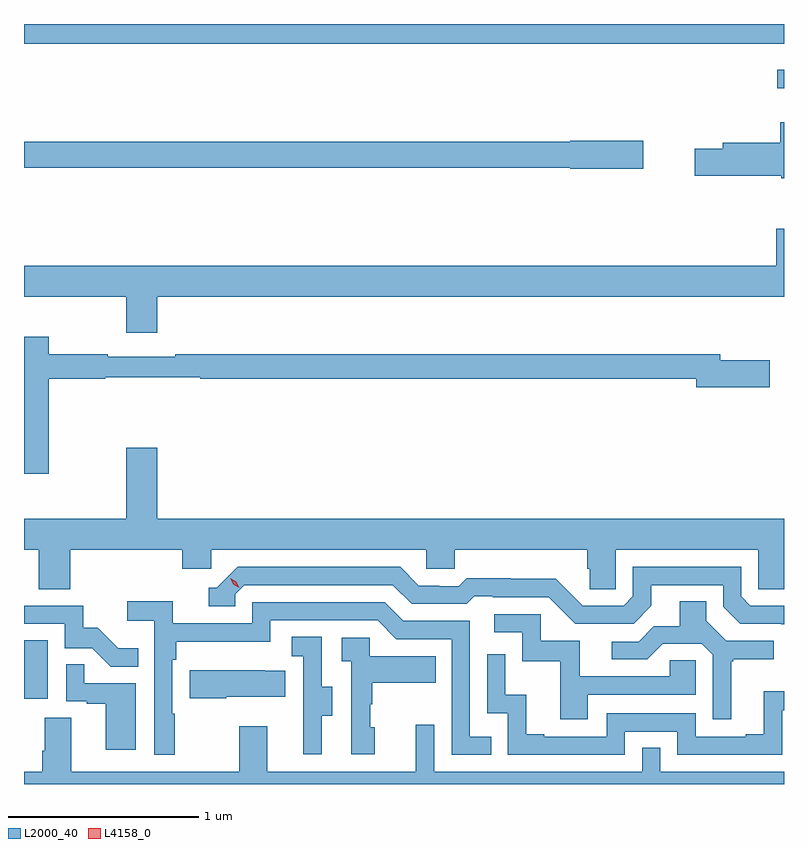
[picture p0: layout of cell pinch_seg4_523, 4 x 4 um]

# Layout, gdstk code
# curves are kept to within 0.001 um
import gdstk
lib = gdstk.Library(unit=1e-6, precision=1e-09)
def R(c, l, rs):  # rectangles x0, y0, x1, y1
    for r in rs: c.add(gdstk.rectangle(r[:2], r[2:], *l))
def P(c, l, *ps):  # polygons
    for p in ps: c.add(gdstk.Polygon(p, *l))
L2000_40 = (2000, 40)
L4158_0 = (4158, 0)

pinch_seg4_523 = lib.new_cell('pinch_seg4_523')
R(pinch_seg4_523, L2000_40, [(1027.607,769.398,1027.732,769.705), (1031.571,772.611,1031.607,772.708), (1027.607,772.844,1031.607,772.948)])
P(pinch_seg4_523, L2000_40, [(1031.607,772.432),(1031.588,772.432),(1031.588,772.322),(1031.285,772.322),(1031.285,772.292),(1031.136,772.292),(1031.136,772.15),(1031.592,772.15),(1031.592,772.136),(1031.607,772.136)],
  [(1030.867,772.334),(1030.482,772.334),(1030.482,772.328),(1027.607,772.328),(1027.607,772.192),(1030.482,772.192),(1030.482,772.187),(1030.867,772.187)],
  [(1028.308,771.512),(1031.607,771.512),(1031.607,771.871),(1031.567,771.871),(1031.567,771.676),(1027.607,771.676),(1027.607,771.512),(1028.144,771.512),(1028.144,771.324),(1028.308,771.324)],
  [(1027.738,771.082),(1028.034,771.082),(1028.034,771.09),(1028.534,771.09),(1028.534,771.082),(1031.144,771.082),(1031.144,771.035),(1031.533,771.035),(1031.533,771.177),(1031.272,771.177),(1031.272,771.211),(1028.404,771.211),(1028.404,771.198),(1028.048,771.198),(1028.048,771.211),(1027.738,771.211),(1027.738,771.301),(1027.607,771.301),(1027.607,770.58),(1027.738,770.58)],
  [(1028.308,770.719),(1028.144,770.719),(1028.144,770.344),(1027.607,770.344),(1027.607,770.18),(1027.685,770.18),(1027.685,769.972),(1027.85,769.972),(1027.85,770.18),(1028.441,770.18),(1028.441,770.082),(1028.592,770.082),(1028.592,770.18),(1029.723,770.18),(1029.723,770.082),(1029.873,770.082),(1029.873,770.18),(1030.571,770.18),(1030.571,770.082),(1030.585,770.082),(1030.585,769.972),(1030.722,769.972),(1030.722,770.18),(1031.472,770.18),(1031.472,769.972),(1031.607,769.972),(1031.607,770.344),(1028.308,770.344)],
  [(1031.607,769.887),(1031.43,769.887),(1031.382,769.935),(1031.382,770.091),(1030.812,770.091),(1030.812,769.935),(1030.764,769.887),(1030.548,769.887),(1030.406,770.029),(1030.17,770.029),(1030.17,770.032),(1029.937,770.032),(1029.895,769.989),(1029.792,769.989),(1029.792,769.992),(1029.685,769.992),(1029.586,770.091),(1028.733,770.091),(1028.622,769.98),(1028.579,769.98),(1028.579,769.884),(1028.718,769.884),(1028.718,769.947),(1028.766,769.995),(1029.549,769.995),(1029.648,769.896),(1029.937,769.896),(1029.976,769.935),(1030.075,769.935),(1030.075,769.932),(1030.368,769.932),(1030.509,769.791),(1030.815,769.791),(1030.909,769.885),(1030.909,769.995),(1031.286,769.995),(1031.286,769.881),(1031.376,769.791),(1031.607,769.79)],
  [(1028.401,769.319),(1028.388,769.319),(1028.388,769.601),(1028.408,769.601),(1028.408,769.697),(1028.904,769.697),(1028.904,769.809),(1029.468,769.809),(1029.567,769.71),(1029.858,769.71),(1029.858,769.101),(1030.067,769.101),(1030.067,769.197),(1029.954,769.197),(1029.954,769.806),(1029.604,769.806),(1029.505,769.905),(1028.808,769.905),(1028.808,769.794),(1028.39,769.794),(1028.39,769.91),(1028.151,769.91),(1028.151,769.808),(1028.292,769.808),(1028.292,769.101),(1028.401,769.101)],
  [(1031.329,769.593),(1031.341,769.593),(1031.341,769.604),(1031.554,769.604),(1031.554,769.701),(1031.304,769.701),(1031.197,769.808),(1031.197,769.91),(1031.057,769.91),(1031.057,769.778),(1030.922,769.778),(1030.842,769.698),(1030.701,769.698),(1030.701,769.605),(1030.888,769.605),(1030.969,769.686),(1031.175,769.686),(1031.232,769.629),(1031.232,769.29),(1031.329,769.29)],
  [(1028.207,769.663),(1028.103,769.663),(1027.996,769.77),(1027.92,769.77),(1027.92,769.887),(1027.607,769.887),(1027.607,769.791),(1027.821,769.791),(1027.821,769.662),(1027.965,769.662),(1028.063,769.564),(1028.207,769.564)],
  [(1030.573,769.419),(1031.142,769.419),(1031.142,769.599),(1031.005,769.599),(1031.005,769.515),(1030.531,769.515),(1030.531,769.701),(1030.326,769.701),(1030.326,769.842),(1030.083,769.842),(1030.083,769.746),(1030.23,769.746),(1030.23,769.593),(1030.429,769.593),(1030.429,769.29),(1030.573,769.29)],
  [(1029.175,769.306),(1029.229,769.306),(1029.229,769.461),(1029.174,769.461),(1029.174,769.724),(1029.015,769.724),(1029.015,769.621),(1029.078,769.621),(1029.078,769.317),(1029.077,769.317),(1029.077,769.104),(1029.175,769.104)],
  [(1029.454,769.248),(1029.429,769.248),(1029.429,769.367),(1029.439,769.367),(1029.439,769.481),(1029.773,769.481),(1029.773,769.621),(1029.426,769.621),(1029.426,769.719),(1029.279,769.719),(1029.279,769.595),(1029.33,769.595),(1029.33,769.104),(1029.454,769.104)],
  [(1030.77,769.224),(1031.046,769.224),(1031.046,769.101),(1031.598,769.101),(1031.598,769.337),(1031.607,769.337),(1031.607,769.435),(1031.501,769.435),(1031.501,769.21),(1031.405,769.21),(1031.405,769.197),(1031.142,769.197),(1031.142,769.32),(1030.674,769.32),(1030.674,769.197),(1030.345,769.197),(1030.345,769.21),(1030.25,769.21),(1030.25,769.418),(1030.14,769.418),(1030.14,769.63),(1030.044,769.63),(1030.044,769.32),(1030.152,769.32),(1030.152,769.101),(1030.77,769.101)],
  [(1028.194,769.479),(1027.925,769.479),(1027.925,769.577),(1027.83,769.577),(1027.83,769.383),(1027.937,769.383),(1027.937,769.371),(1028.036,769.371),(1028.036,769.128),(1028.194,769.128)],
  [(1028.671,769.406),(1028.981,769.406),(1028.981,769.543),(1028.873,769.543),(1028.873,769.546),(1028.48,769.546),(1028.48,769.399),(1028.671,769.399)],
  [(1031.607,769.012),(1030.956,769.012),(1030.956,769.139),(1030.86,769.139),(1030.86,769.012),(1029.765,769.012),(1029.765,769.261),(1029.668,769.261),(1029.668,769.012),(1028.887,769.012),(1028.887,769.252),(1028.74,769.252),(1028.74,769.012),(1027.855,769.012),(1027.855,769.298),(1027.715,769.298),(1027.715,769.124),(1027.703,769.124),(1027.703,769.012),(1027.607,769.012),(1027.607,768.948),(1031.607,768.948)])
P(pinch_seg4_523, L4158_0, [(1028.74,769.98),(1028.709,769.999),(1028.693,770.031),(1028.693,770.032),(1028.693,770.032),(1028.724,770.012),(1028.741,769.98),(1028.741,769.98)])

lib.write_gds('pinch_seg4_523.gds')
